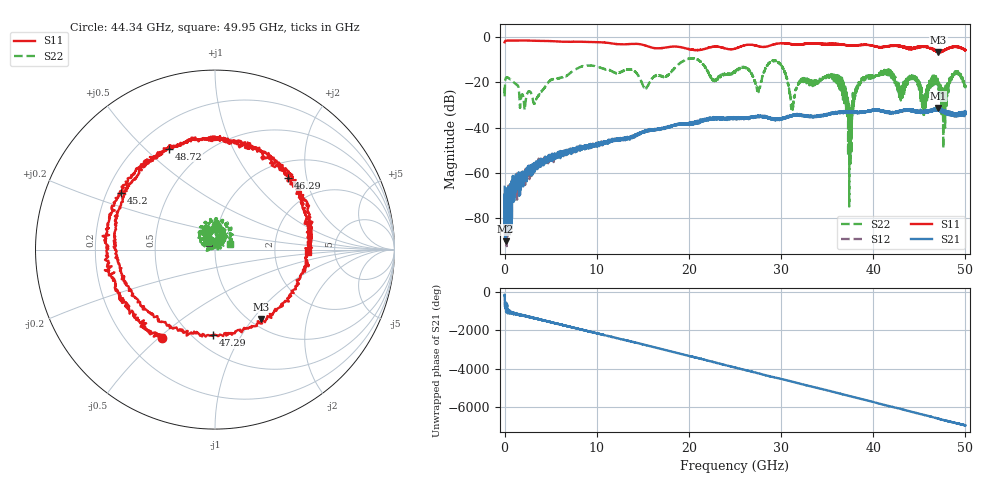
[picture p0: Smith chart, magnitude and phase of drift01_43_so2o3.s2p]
!Created with skrf (http://scikit-rf.org).
# Hz S RI R 50.0
!freq ReS11 ImS11 ReS21 ImS21 ReS12 ImS12 ReS22 ImS22
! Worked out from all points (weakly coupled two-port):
!   10001 points, 300 kHz to 50 GHz, reference 50 ohm
!   highest |S21| = -31.30 dB at 47.03 GHz (marker M1); lowest = -90.6 dB at 100.3 MHz (marker M2)
!   lowest |S11| = -6.7 dB at 47.05 GHz (marker M3), VSWR 2.73, Z = 56 - j55.1 ohm
!   |S11| at or under -10 dB: nowhere
!   |S22| runs from -75.1 to -9.2 dB; largest |S21 - S12| = 0.0038
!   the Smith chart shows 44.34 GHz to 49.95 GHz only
!   S11 on the Smith chart (normalised r, x): 44.34 GHz: 0.35, -0.52; 45.2 GHz: 0.26, +0.26; 46.29 GHz: 1.31, +1.57; 47.29 GHz: 0.62, -0.76; 48.72 GHz: 0.33, +0.60; 49.95 GHz: 3.14, -0.10
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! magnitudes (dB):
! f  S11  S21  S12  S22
! 300 kHz  -2.2  -66.3  -69.8  -22.3
! 100.3 MHz  -1.5  -90.6  -78.9  -18.4
! 3.29 GHz  -1.5  -56.8  -57.0  -28.9
! 8.335 GHz  -1.9  -49.3  -48.9  -12.9
! 16.67 GHz  -4.8  -40.7  -40.8  -16.7
! 25 GHz  -5.0  -36.0  -36.2  -15.3
! 29.58 GHz  -2.8  -36.3  -36.2  -10.6
! 31.24 GHz  -3.0  -34.5  -34.5  -31.3
! 33.34 GHz  -2.6  -35.2  -35.1  -19.9
! 36.36 GHz  -3.1  -33.2  -33.1  -22.8
! 37.47 GHz  -3.6  -33.0  -33.1  -35.2
! 38.65 GHz  -3.3  -33.4  -33.1  -20.4
! 41.67 GHz  -3.9  -33.3  -33.2  -15.9
! 44.34 GHz  -4.8  -32.6  -32.5  -17.2
! 45.2 GHz  -4.3  -33.0  -33.1  -21.7
! 46.29 GHz  -4.9  -32.8  -32.3  -18.6
! 47.03 GHz  -6.3  -31.3  -32.3  -21.6
! 47.05 GHz  -6.7  -31.8  -31.8  -23.0
! 47.29 GHz  -6.5  -32.2  -32.4  -21.8
! 48.72 GHz  -4.2  -34.0  -34.8  -15.7
! 49.95 GHz  -5.7  -33.4  -33.4  -21.2
! 50 GHz  -5.7  -33.5  -33.6  -21.6
